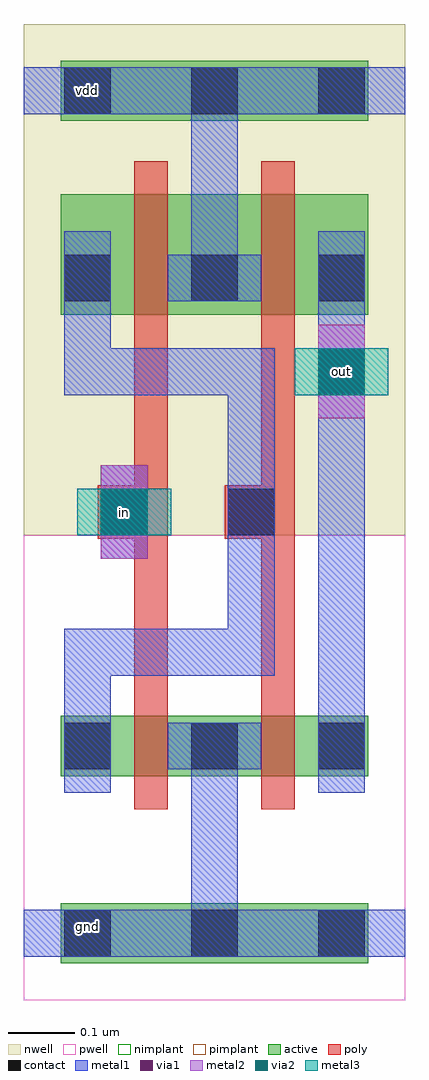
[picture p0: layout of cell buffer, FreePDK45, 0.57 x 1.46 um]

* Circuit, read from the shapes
.subckt buffer gnd in out vdd
M1 gnd in n1 gnd nfet w=0.09u l=0.05u
M2 out n1 gnd gnd nfet w=0.09u l=0.05u
M3 vdd in n1 vdd pfet w=0.18u l=0.05u
M4 out n1 vdd vdd pfet w=0.18u l=0.05u
.ends

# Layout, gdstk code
import gdstk
lib = gdstk.Library(unit=1e-6, precision=5e-10)
def R(c, l, rs):  # rectangles x0, y0, x1, y1
    for r in rs: c.add(gdstk.rectangle(r[:2], r[2:], *l))
def A(c, l, x, y, w, h, nx, ny, dx, dy):  # array of equal rectangles
    R(c, l, [(x+i*dx, y+j*dy, x+i*dx+w, y+j*dy+h) for i in range(nx) for j in range(ny)])
active = (1, 0)
pwell = (2, 0)
nwell = (3, 0)
nimplant = (4, 0)
pimplant = (5, 0)
poly = (9, 0)
contact = (10, 0)
metal1 = (11, 0)
via1 = (12, 0)
metal2 = (13, 0)
via2 = (14, 0)
metal3 = (15, 0)

buffer = lib.new_cell('buffer')
R(buffer, active, [(0.055,-0.045,0.515,0.045), (0.055,0.235,0.515,0.325), (0.055,0.925,0.515,1.105), (0.055,1.215,0.515,1.305)])
R(buffer, pwell, [(0,-0.1,0.57,0.595)])
R(buffer, nwell, [(0,0.595,0.57,1.36)])
R(buffer, nimplant, [(0.055,0.235,0.515,0.325), (0.055,1.215,0.515,1.305)])
R(buffer, pimplant, [(0.055,-0.045,0.515,0.045), (0.055,0.925,0.515,1.105)])
R(buffer, poly, [(0.165,0.185,0.215,1.155), (0.355,0.185,0.405,1.155), (0.11,0.59,0.165,0.67), (0.3,0.59,0.355,0.67)])
A(buffer, contact, 0.06, -0.035, 0.07, 0.07, 3, 2, 0.19, 0.28)
A(buffer, contact, 0.06, 0.945, 0.07, 0.07, 3, 2, 0.19, 0.28)
R(buffer, contact, [(0.115,0.595,0.185,0.665), (0.305,0.595,0.375,0.665)])
R(buffer, metal1, [(0,-0.035,0.57,0.035), (0.25,0.035,0.32,0.245), (0.06,0.21,0.13,0.385), (0.44,0.21,0.51,1.05), (0.215,0.245,0.355,0.315), (0.06,0.385,0.305,0.455), (0.305,0.385,0.375,0.875), (0.115,0.56,0.185,0.7), (0.06,0.805,0.305,0.875), (0.06,0.875,0.13,1.05), (0.215,0.945,0.355,1.015), (0.25,1.015,0.32,1.225), (0,1.225,0.57,1.295)])
R(buffer, via1, [(0.115,0.595,0.185,0.665), (0.44,0.805,0.51,0.875)])
R(buffer, metal2, [(0.115,0.56,0.185,0.7), (0.44,0.77,0.51,0.91)])
R(buffer, via2, [(0.115,0.595,0.185,0.665), (0.44,0.805,0.51,0.875)])
R(buffer, metal3, [(0.08,0.595,0.22,0.665), (0.405,0.805,0.545,0.875)])
buffer.add(gdstk.Label('vdd', (0.095,1.26), layer=11, texttype=0))
buffer.add(gdstk.Label('gnd', (0.095,0.01), layer=11, texttype=0))
buffer.add(gdstk.Label('out', (0.475,0.84), layer=15, texttype=0))
buffer.add(gdstk.Label('in', (0.15,0.63), layer=15, texttype=0))

lib.write_gds('buffer.gds')
